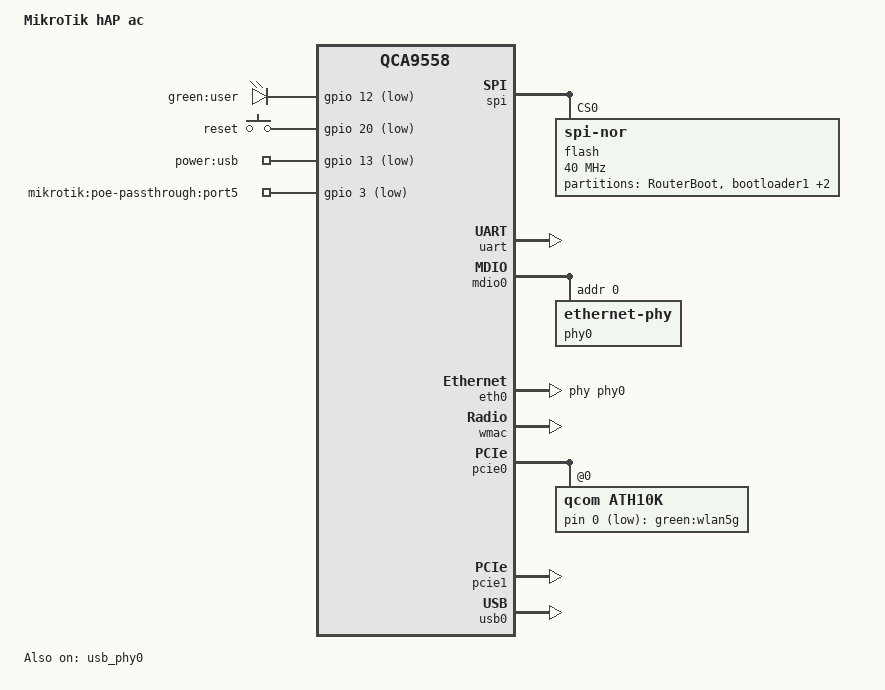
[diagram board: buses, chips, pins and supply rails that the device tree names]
// SPDX-License-Identifier: GPL-2.0-or-later OR MIT

#include "qca955x.dtsi"

#include <dt-bindings/gpio/gpio.h>
#include <dt-bindings/input/input.h>

/ {
	compatible = "mikrotik,routerboard-962uigs-5hact2hnt", "qca,qca9558";
	model = "MikroTik hAP ac";

	aliases {
		led-boot = &led_user;
		led-failsafe = &led_user;
		led-upgrade = &led_user;
		serial0 = &uart;
	};

	leds {
		compatible = "gpio-leds";

		led_user: user {
			label = "green:user";
			gpios = <&gpio 12 GPIO_ACTIVE_LOW>;
		};
	};

	keys {
		compatible = "gpio-keys";

		reset {
			label = "reset";
			linux,code = <KEY_RESTART>;
			gpios = <&gpio 20 GPIO_ACTIVE_LOW>;
			debounce-interval = <60>;
		};
	};

	ath10k-leds {
		compatible = "gpio-leds";

		wlan5g {
			label = "green:wlan5g";
			gpios = <&ath10k 0 GPIO_ACTIVE_LOW>;
			linux,default-trigger = "phy0tpt";
		};

	};

	gpio-export {
		compatible = "gpio-export";

		gpio_usb_power {
			gpio-export,name = "power:usb";
			gpio-export,output = <1>;
			gpios = <&gpio 13 GPIO_ACTIVE_LOW>;
		};

		poe_passthrough_port5 {
			gpio-export,name = "mikrotik:poe-passthrough:port5";
			gpio-export,output = <1>;
			gpios = <&gpio 3 GPIO_ACTIVE_LOW>;
		};
	};

};

&spi {
	status = "okay";

	flash@0 {
		compatible = "jedec,spi-nor";
		reg = <0>;
		spi-max-frequency = <40000000>;

		partitions {
			compatible = "fixed-partitions";
			#address-cells = <1>;
			#size-cells = <1>;

			partition@0 {
				label = "RouterBoot";
				reg = <0x0 0x20000>;
				read-only;
				compatible = "mikrotik,routerboot-partitions";
				#address-cells = <1>;
				#size-cells = <1>;

				partition@0 {
					label = "bootloader1";
					reg = <0x0 0x0>;
					read-only;
				};

				hard_config: hard_config {
					read-only;
				};

				bios {
					size = <0x1000>;
					read-only;
				};

				partition@10000 {
					label = "bootloader2";
					reg = <0x10000 0x0>;
					read-only;
				};

				soft_config {
					label = "soft_config";
				};
			};

			partition@20000 {
				compatible = "mikrotik,minor";
				label = "firmware";
				reg = <0x020000 0xfe0000>;
			};
		};
	};
};

&uart {
	status = "okay";
};

&mdio0 {
	status = "okay";

	phy0: ethernet-phy@0 {
		reg = <0>;

		qca,ar8327-initvals = <
			0x04 0x07600000 /* PORT0 PAD MODE CTRL */
			0x50 0xc737c737 /* LED_CTRL0 */
			0x54 0x00000000 /* LED_CTRL1 */
			0x58 0x00000000 /* LED_CTRL2 */
			0x5c 0x0030c300 /* LED_CTRL3 */
			0x7c 0x0000007e /* PORT0_STATUS */
			>;
	};
};

&eth0 {
	status = "okay";

	phy-handle = <&phy0>;
	pll-data = <0xa6000000 0x00000101 0x00001616>;

	gmac-config {
		device = <&gmac>;
		rgmii-enabled = <1>;
	};
};

&wmac {
	status = "okay";

	qca,no-eeprom;
};

&pcie0 {
	status = "okay";

	ath10k: wifi@0,0 {
		compatible = "qcom,ath10k";
		reg = <0 0 0 0 0>;
		#gpio-cells = <2>;
		gpio-controller;
	};
};

&pcie1 {
	status = "okay";
};

&usb0 {
	status = "okay";
};

&usb_phy0 {
	status = "okay";
};
